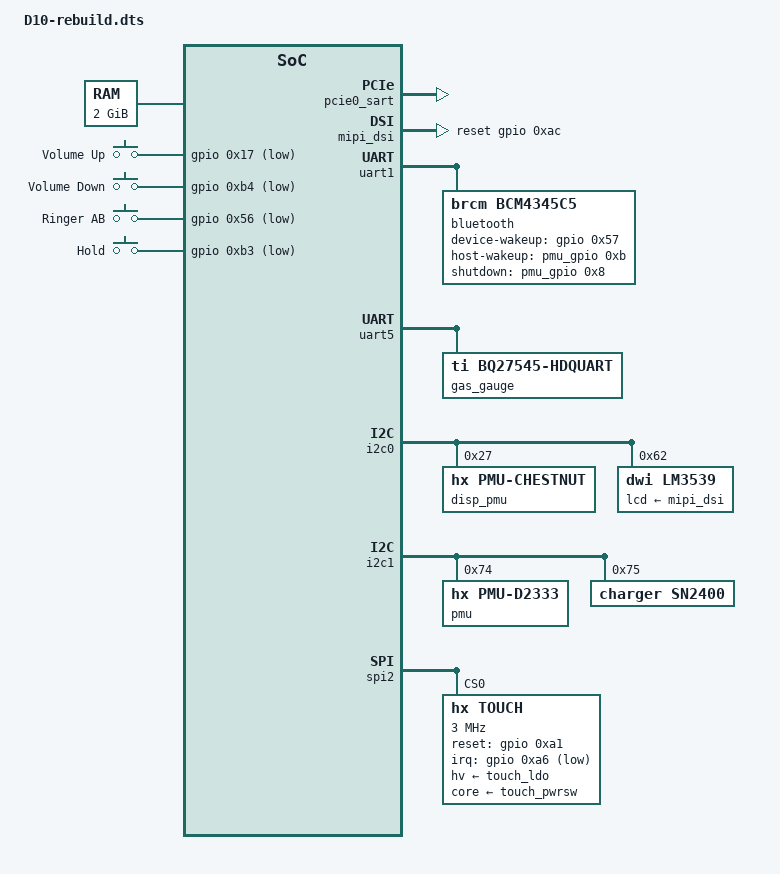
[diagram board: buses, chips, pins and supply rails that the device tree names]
// SPDX-License-Identifier: GPL-2.0
/*
 * iPhone 7 (D10) rebuilt on top of t8010-sandcastle.dtsi.
 *
 * Not shipped. build.sh compiles this and checks it is identical to the
 * "D10" entry in Corellium's original dtbpack, which proves the shared SoC
 * file was reconstructed correctly.
 */

/dts-v1/;

#include "../t8010-sandcastle.dtsi"

/ {
	hardware-model = "D10";

	memory@800000000 {
		device_type = "memory";
		reg = <0x8 0x00000000 0x0 0x80000000>;
	};

	reserved-memory {
		#address-cells = <2>;
		#size-cells = <2>;
		ranges;

		boot_area@800010000 {
			reg = <0x8 0x00010000 0x0 0x70000>;
		};

		fw_area@87d000000 {
			reg = <0x8 0x7d000000 0x0 0x3000000>;
			no-map;
		};

		pcie0_sart: pcie0_sart@87ee00000 {
			compatible = "hx,nvme-scratch";
			reg = <0x8 0x7ee00000 0x0 0x1200000>;
			iova = <0xbc000000>;
			no-map;
		};
	};

	firmware {
		android {
			compatible = "android,firmware";
			boot_devices = "0";

			vbmeta {
				compatible = "android,vbmeta";
				parts = "vbmeta";
			};

			fstab {
				compatible = "android,fstab";

				system {
					mnt_point = "/system";
					dev = "system";
					type = "ext4";
					mnt_flags = "ro";
					fsmgr_flags = "wait,logical";
					status = "ok";
				};

				vendor {
					mnt_point = "/vendor";
					dev = "vendor";
					type = "ext4";
					mnt_flags = "ro";
					fsmgr_flags = "wait,logical";
					status = "ok";
				};
			};
		};
	};

	soc {
		dsiclk: dsiclk@20e0802c0 {
			compatible = "hx,pmgr-clk-gate";
			#clock-cells = <0>;
			reg = <0x2 0x0e0802c0 0x0 0x8>;
			clocks = <&refclk100mhz>;
			clock-output-names = "dsiclk";
		};

		mipi_dsi: mipi_dsi@206600000 {
			compatible = "hx,mipi-dsi";
			reg = <0x2 0x06600000 0x0 0x100000>, <0x2 0x06400000 0x0 0x1000>,
			      <0x2 0x0e0802c0 0x0 0x4>;
			clocks = <&dsiclk>;
			reset-gpios = <&gpio 0xac 0>;
			supply-name = "lcd_ldo";
		};
	};

	usbcomplex {
	};

	gpio-keys {
		compatible = "gpio-keys";

		volup {
			label = "Volume Up";
			gpios = <&gpio 0x17 1>;
			linux,code = <0x73>;
		};

		voldown {
			label = "Volume Down";
			gpios = <&gpio 0xb4 1>;
			linux,code = <0x72>;
		};

		ringerab {
			label = "Ringer AB";
			gpios = <&gpio 0x56 1>;
			linux,code = <0x71>;
		};

		hold {
			label = "Hold";
			gpios = <&gpio 0xb3 1>;
			linux,code = <0x74>;
		};
	};
};

&uart1 {
	bluetooth {
		compatible = "brcm,bcm4345c5";
		device-wakeup-gpios = <&gpio 0x57 0>;
		host-wakeup-gpios = <&pmu_gpio 0xb 0>;
		shutdown-gpios = <&pmu_gpio 0x8 0>;
		max-speed = <1500000>;
	};
};

&uart5 {
	gas_gauge {
		compatible = "ti,bq27545-hdquart";
		charger = <&charger>;
	};
};

&i2c0 {
	disp_pmu@27 {
		compatible = "hx,pmu-chestnut";
		reg = <0x27>;
		#address-cells = <1>;
		#size-cells = <0>;

		touch_ldo: touch_ldo@5 {
			compatible = "hx,i2c-pmu-switch";
			reg = <0x5>;
			mask = <0x10>;
			enable = <0x10>;
			supply-name = "mipi_dsi";
		};

		lcd_ldo@5 {
			compatible = "hx,i2c-pmu-switch";
			reg = <0x5>;
			mask = <0xf>;
			enable = <0xf>;
		};
	};

	lm3539@62 {
		compatible = "dwi,lm3539";
		reg = <0x62>;
		dwi = <&dwi>;
		lcd-supply = <&mipi_dsi>;
	};
};

&i2c1 {
	pmu@74 {
		compatible = "hx,pmu-d2333";
		reg = <0x74>;
		#address-cells = <1>;
		#size-cells = <0>;

		bbram: bbram@5000 {
			compatible = "hx,i2c-pmu-bbram";
			reg = <0x5000>;
			size = <0x40>;
		};

		rtc@502 {
			compatible = "hx,i2c-pmu-rtc";
			reg = <0x502>;
			nvmem = <&bbram>;
			nvmem-offset = <0x4>;
		};

		touch_pwrsw: touch_pwrsw@31f {
			compatible = "hx,i2c-pmu-switch";
			reg = <0x31f>;
			mask = <0x1>;
			enable = <0x1>;
		};

		pmu_gpio: pmu_gpio@900 {
			compatible = "hx,i2c-pmu-gpio";
			reg = <0x900>;
			reg-offs = <0x0 0x2 0x4 0x6 0x8 0xa 0xc 0xe 0x10 0x12 0x14 0x16 0x18 0x1a 0x1c 0x1e 0x20 0x27 0x2d 0x33 0x39>;
			reg-input = <0x186>;
			bit-outval = <0x1 0x1>;
			bit-direction = <0xc0 0x0 0x80>;
			gpio-controller;
			#gpio-cells = <2>;
			gpio-base = <0xe0>;
		};
	};

	charger: sn2400@75 {
		compatible = "charger,sn2400";
		reg = <0x75>;
		charge-current = <0x79e>;
	};
};

&spi2 {
	touch@0 {
		compatible = "hx,touch";
		reg = <0x0>;
		spi-max-frequency = <3000000>;
		hv-supply = <&touch_ldo>;
		core-supply = <&touch_pwrsw>;
		reset-gpios = <&gpio 0xa1 0>;
		cs-gpios = <&gpio 0x51 0>;
		irq-gpios = <&gpio 0xa6 1>;
		clocks = <&touchclk>;
	};
};

&spi1 {
	cs-gpios = <&gpio 0x83 0>, <&gpio 0xb1 0>;
};

&pcie {
	sart-regions = <&pcie0_sart>;
	devpwr-gpios = <&gpio 0x58 0>, <&pmu_gpio 0xa 0>;
	devpwr-on-0;
	devpwr-on-3 = <0x0 0x0 0x1 0x0 0x0 0x1 0x1 0x1>;
	/delete-property/ status;
};

&reboot {
	nvmem = <&bbram>;
	nvmem-poweroff = <0x1 0xff 0x0 0x2 0xff 0x0 0x3 0xff 0x0 0xf 0xf0 0x90>;
};
